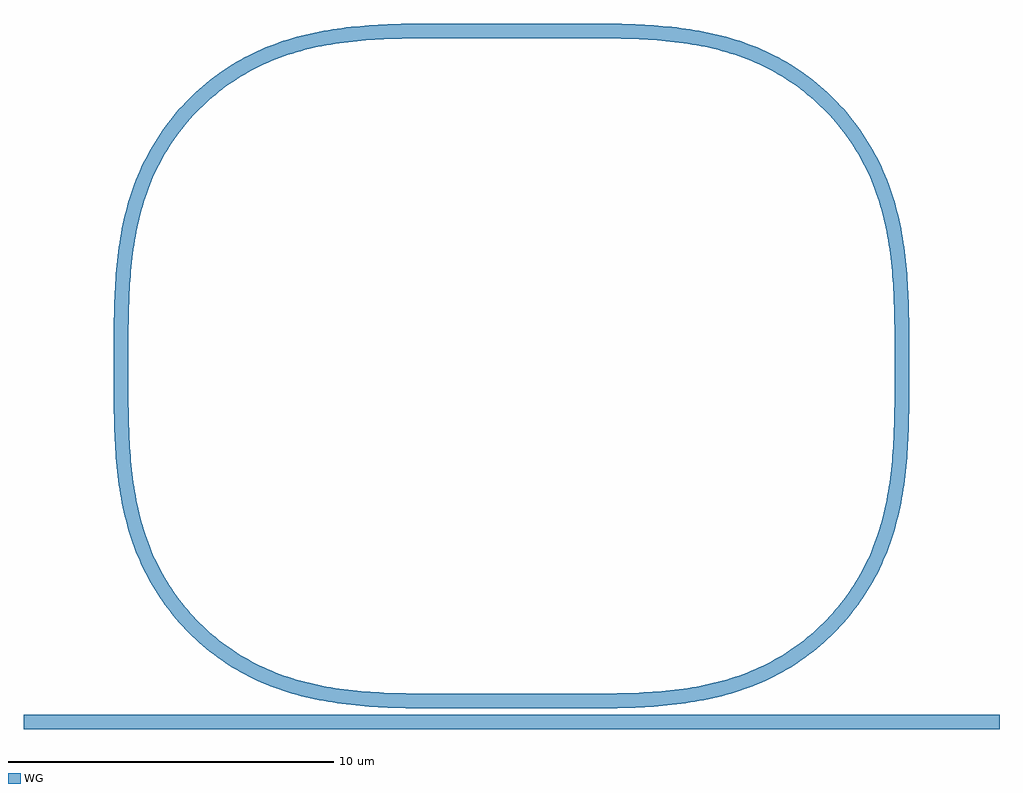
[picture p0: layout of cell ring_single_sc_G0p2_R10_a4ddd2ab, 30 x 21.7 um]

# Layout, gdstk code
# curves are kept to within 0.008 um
from math import pi, radians
import gdstk
lib = gdstk.Library(unit=1e-6, precision=1e-09)
def R(c, l, rs):  # rectangles x0, y0, x1, y1
    for r in rs: c.add(gdstk.rectangle(r[:2], r[2:], *l))
def P(c, l, *ps):  # polygons
    for p in ps: c.add(gdstk.Polygon(p, *l))
WG = (3, 0)

coupler_ring_sc_g0p2_r1_ = lib.new_cell('coupler_ring_sc_G0p2_R1_c8cba183')
R(coupler_ring_sc_g0p2_r1_, WG, [(-17,-0.225,13,0.225)])
P(coupler_ring_sc_g0p2_r1_, WG, [(-4.416,0.425),(-5.811,0.45),(-6.372,0.481),(-6.932,0.531),(-7.352,0.584),(-7.911,0.677),(-8.465,0.802),(-8.875,0.918),(-9.281,1.056),(-9.678,1.216),(-10.193,1.466),(-10.565,1.679),(-10.925,1.914),(-11.381,2.259),(-11.704,2.541),(-12.011,2.842),(-12.299,3.16),(-12.568,3.494),(-12.895,3.963),(-13.116,4.331),(-13.314,4.712),(-13.49,5.103),(-13.643,5.504),(-13.773,5.911),(-13.882,6.323),(-13.999,6.879),(-14.066,7.298),(-14.133,7.858),(-14.178,8.418),(-14.21,9.118),(-14.225,10.65),(-13.775,10.65),(-13.756,8.994),(-13.72,8.31),(-13.656,7.631),(-13.579,7.092),(-13.475,6.56),(-13.341,6.037),(-13.218,5.652),(-13.074,5.275),(-12.909,4.908),(-12.723,4.551),(-12.516,4.206),(-12.127,3.659),(-11.869,3.351),(-11.592,3.058),(-11.299,2.781),(-10.991,2.523),(-10.667,2.283),(-10.33,2.063),(-9.981,1.863),(-9.621,1.683),(-9.25,1.526),(-8.742,1.348),(-8.221,1.205),(-7.825,1.119),(-7.289,1.029),(-6.884,0.979),(-6.34,0.93),(-5.656,0.894),(-4.415,0.875),(1.243,0.883),(2.203,0.921),(3.019,0.994),(3.558,1.071),(4.09,1.175),(4.613,1.309),(4.998,1.432),(5.375,1.576),(5.742,1.741),(6.099,1.927),(6.556,2.208),(6.991,2.523),(7.299,2.781),(7.592,3.058),(7.957,3.452),(8.289,3.873),(8.516,4.206),(8.787,4.669),(9.022,5.152),(9.218,5.652),(9.377,6.167),(9.531,6.825),(9.621,7.361),(9.698,8.038),(9.744,8.72),(9.767,9.407),(9.775,10.65),(10.225,10.65),(10.223,9.816),(10.2,8.839),(10.169,8.278),(10.103,7.578),(9.999,6.879),(9.882,6.323),(9.732,5.775),(9.594,5.369),(9.375,4.841),(9.116,4.331),(8.895,3.963),(8.568,3.494),(8.205,3.052),(7.808,2.639),(7.381,2.259),(6.925,1.914),(6.565,1.679),(6.193,1.466),(5.678,1.216),(5.281,1.056),(4.875,0.918),(4.327,0.768),(3.771,0.651),(3.213,0.565),(2.372,0.481),(1.252,0.433)])

straight_l0p6_csxs_sc = lib.new_cell('straight_L0p6_CSxs_sc')
R(straight_l0p6_csxs_sc, WG, [(0,-0.225,0.6,0.225)])

straight_l4_csxs_sc = lib.new_cell('straight_L4_CSxs_sc')
R(straight_l4_csxs_sc, WG, [(0,-0.225,4,0.225)])

bend_euler_r10_a90_p0p5_ = lib.new_cell('bend_euler_R10_A90_P0p5_6bc03286')
P(bend_euler_r10_a90_p0p5_, WG, [(0,-0.225),(0,0.225),(1.656,0.244),(2.34,0.28),(3.019,0.344),(3.558,0.421),(4.09,0.525),(4.613,0.659),(4.998,0.782),(5.375,0.926),(5.742,1.091),(6.099,1.277),(6.444,1.484),(6.991,1.873),(7.299,2.131),(7.592,2.408),(7.869,2.701),(8.127,3.009),(8.516,3.556),(8.723,3.901),(8.909,4.258),(9.074,4.625),(9.218,5.002),(9.341,5.387),(9.475,5.91),(9.579,6.442),(9.656,6.981),(9.72,7.66),(9.756,8.344),(9.775,10),(10.225,10),(10.21,8.468),(10.178,7.768),(10.133,7.208),(10.066,6.648),(9.999,6.229),(9.882,5.673),(9.773,5.261),(9.643,4.854),(9.434,4.322),(9.25,3.934),(9.044,3.557),(8.817,3.194),(8.568,2.844),(8.299,2.51),(7.911,2.089),(7.49,1.701),(7.156,1.432),(6.806,1.183),(6.443,0.956),(6.066,0.75),(5.678,0.566),(5.146,0.357),(4.739,0.227),(4.327,0.118),(3.771,0.001),(3.352,-0.066),(2.792,-0.133),(2.232,-0.178),(1.532,-0.21)])

ring_single_sc_g0p2_r10_ = lib.new_cell('ring_single_sc_G0p2_R10_a4ddd2ab')
ring_single_sc_g0p2_r10_.add(gdstk.Reference(coupler_ring_sc_g0p2_r1_, (0,0)))
ring_single_sc_g0p2_r10_.add(gdstk.Reference(straight_l0p6_csxs_sc, (-14,10.65), rotation=pi/2))
ring_single_sc_g0p2_r10_.add(gdstk.Reference(straight_l0p6_csxs_sc, (10,11.25), rotation=3*pi/2))
ring_single_sc_g0p2_r10_.add(gdstk.Reference(straight_l4_csxs_sc, (0,21.25), rotation=pi))
ring_single_sc_g0p2_r10_.add(gdstk.Reference(bend_euler_r10_a90_p0p5_, (-4,21.25), rotation=pi))
ring_single_sc_g0p2_r10_.add(gdstk.Reference(bend_euler_r10_a90_p0p5_, (10,11.25), rotation=pi/2))

lib.write_gds('ring_single_sc_G0p2_R10_a4ddd2ab.gds')
